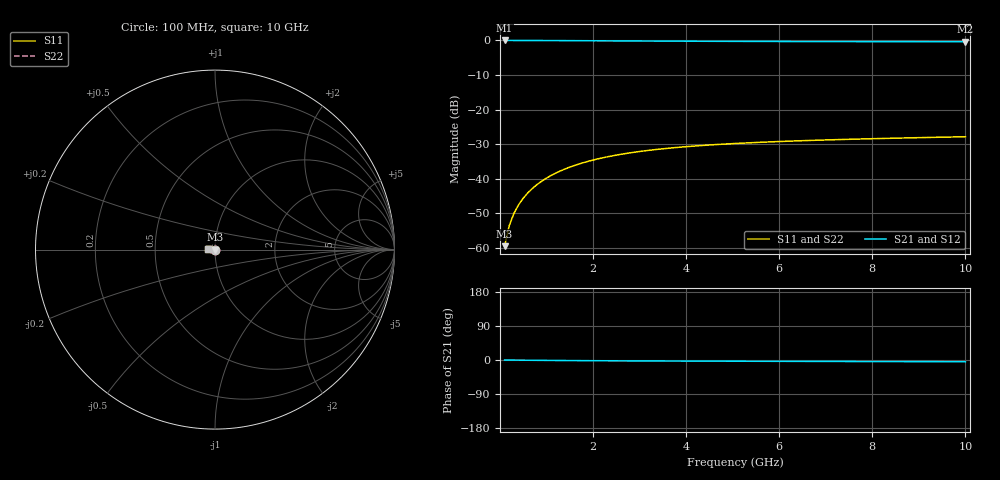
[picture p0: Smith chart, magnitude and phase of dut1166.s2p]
! Touchstone file exported from HFSS 2024.1.0
!  File:  C:/UserFiles/LocalFiles/RDL_TSV_Batchsim/temp_TSV1_1166_1780073308.aedt
!  Generated:  12:53:51 AM May 30, 2026
!  Design:  TSV1
!  Project:  temp_TSV1_1166_1780073308
!  Setup:  Setup1
!  Solution:  Sweep
! Variables:
!  dtsv = 9.59um
!  hbump = 3um
!  htsv = 71.57um
!  lrdl = 252.1521522um
!  p = 40
!  p1 = 48.49um
!  t = 500um
!  trdl = 3um
!  wrdl = 24.89489489um
# GHz S MA R 50.000000
! Terminal data exported
! Port[1] = TSV22_T1
! Port[2] = TSV22_T2
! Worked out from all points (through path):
!   100 points, 100 MHz to 10 GHz, reference 50 ohm
!   highest |S21| = 0.00 dB at 100 MHz (marker M1); lowest = -0.4 dB at 10 GHz (marker M2)
!   lowest |S11| = -59.5 dB at 100 MHz (marker M3), VSWR 1.00, Z = 50 - j0.105 ohm
!   |S11| at or under -10 dB: start of sweep to end of sweep
!   |S22| runs from -59.5 to -27.9 dB; largest |S21 - S12| = 4e-15
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0.1  0.001053 -83.7  0.9998 -0.1  0.9998 -0.1  0.001053 -83.7
! Gamma 0 0 0 0
! Port Impedance 50 0 50 0
0.2  0.002094 -89.3  0.9997 -0.2  0.9997 -0.2  0.002094 -89.3
0.3  0.003138 -92.4  0.9995 -0.3  0.9995 -0.3  0.003138 -92.4
0.4  0.004179 -94.9  0.9993 -0.4  0.9993 -0.4  0.004179 -94.9
0.5  0.005213 -97.0  0.999 -0.5  0.999 -0.5  0.005213 -97.0
0.6  0.006235 -99.1  0.9986 -0.6  0.9986 -0.6  0.006235 -99.1
0.7  0.007244 -101.1  0.9982 -0.7  0.9982 -0.7  0.007244 -101.1
0.8  0.008239 -103.0  0.9977 -0.8  0.9977 -0.8  0.008239 -103.0
0.9  0.009217 -104.8  0.9972 -0.9  0.9972 -0.9  0.009217 -104.8
1.1  0.01112 -108.4  0.9961 -1.1  0.9961 -1.1  0.01112 -108.4
1.4  0.01381 -113.5  0.9941 -1.4  0.9941 -1.4  0.01381 -113.5
1.6  0.01549 -116.7  0.9926 -1.6  0.9926 -1.6  0.01549 -116.7
1.8  0.01708 -119.8  0.9911 -1.7  0.9911 -1.7  0.01708 -119.8
2.1  0.01928 -124.2  0.9887 -1.9  0.9887 -1.9  0.01928 -124.2
2.5  0.0219 -129.7  0.9856 -2.2  0.9856 -2.2  0.0219 -129.7
2.9  0.02418 -134.7  0.9826 -2.4  0.9826 -2.4  0.02418 -134.7
3.4  0.0266 -140.3  0.9791 -2.6  0.9791 -2.6  0.0266 -140.3
4.2  0.02971 -148.2  0.9742 -2.9  0.9742 -2.9  0.02971 -148.2
5.1  0.03237 -155.8  0.9698 -3.2  0.9698 -3.2  0.03237 -155.8
6.7  0.03577 -166.6  0.9642 -3.7  0.9642 -3.7  0.03577 -166.6
8.4  0.03839 -175.8  0.9603 -4.2  0.9603 -4.2  0.03839 -175.8
10  0.0404 176.9  0.9577 -4.7  0.9577 -4.7  0.0404 176.9
